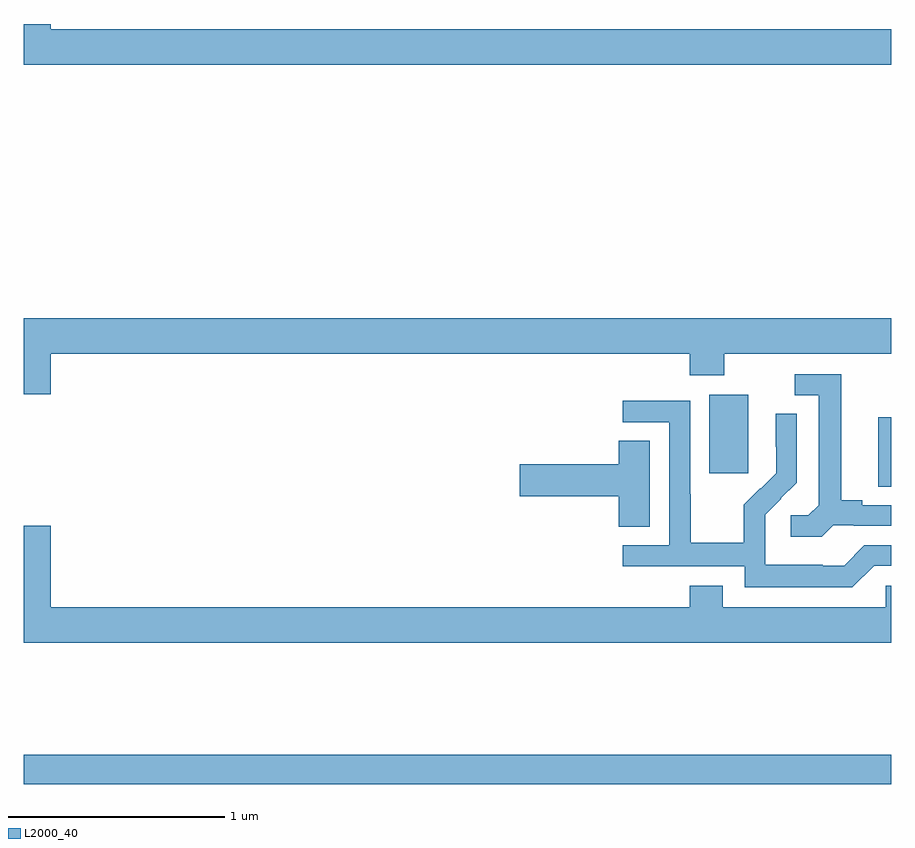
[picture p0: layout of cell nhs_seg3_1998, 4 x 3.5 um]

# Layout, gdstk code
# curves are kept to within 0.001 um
import gdstk
lib = gdstk.Library(unit=1e-6, precision=1e-09)
def R(c, l, rs):  # rectangles x0, y0, x1, y1
    for r in rs: c.add(gdstk.rectangle(r[:2], r[2:], *l))
def P(c, l, *ps):  # polygons
    for p in ps: c.add(gdstk.Polygon(p, *l))
L2000_40 = (2000, 40)

nhs_seg3_1998 = lib.new_cell('nhs_seg3_1998')
R(nhs_seg3_1998, L2000_40, [(213,734.896,217,735.032), (216.941,736.267,217,736.587), (216.161,736.329,216.34,736.69)])
P(nhs_seg3_1998, L2000_40, [(217,738.376),(213.124,738.376),(213.124,738.4),(213,738.4),(213,738.212),(217,738.212)],
  [(213.124,736.88),(216.071,736.88),(216.071,736.781),(216.231,736.781),(216.231,736.88),(217,736.88),(217,737.044),(213,737.044),(213,736.692),(213.124,736.692)],
  [(216.732,736.089),(216.826,736.089),(216.826,736.086),(217,736.086),(217,736.182),(216.865,736.182),(216.865,736.205),(216.769,736.205),(216.769,736.785),(216.555,736.785),(216.555,736.689),(216.665,736.689),(216.665,736.181),(216.618,736.134),(216.537,736.134),(216.537,736.037),(216.68,736.037)],
  [(216.921,735.903),(217,735.903),(217,735.996),(216.876,735.996),(216.783,735.903),(216.683,735.903),(216.683,735.907),(216.42,735.907),(216.42,736.041),(216.418,736.041),(216.418,736.138),(216.564,736.286),(216.564,736.604),(216.468,736.604),(216.468,736.45),(216.47,736.45),(216.47,736.328),(216.399,736.257),(216.396,736.26),(216.319,736.183),(216.319,736.009),(216.075,736.009),(216.075,736.232),(216.072,736.232),(216.072,736.662),(215.763,736.662),(215.763,736.563),(215.976,736.563),(215.976,735.996),(215.763,735.996),(215.763,735.9),(216.324,735.9),(216.324,735.803),(216.821,735.803)],
  [(215.887,736.478),(215.744,736.478),(215.744,736.37),(215.286,736.37),(215.286,736.223),(215.744,736.223),(215.744,736.081),(215.887,736.081)],
  [(217,735.81),(216.975,735.81),(216.975,735.712),(216.223,735.712),(216.223,735.811),(216.071,735.811),(216.071,735.712),(213.124,735.712),(213.124,736.087),(213,736.087),(213,735.548),(217,735.548)])

lib.write_gds('nhs_seg3_1998.gds')
